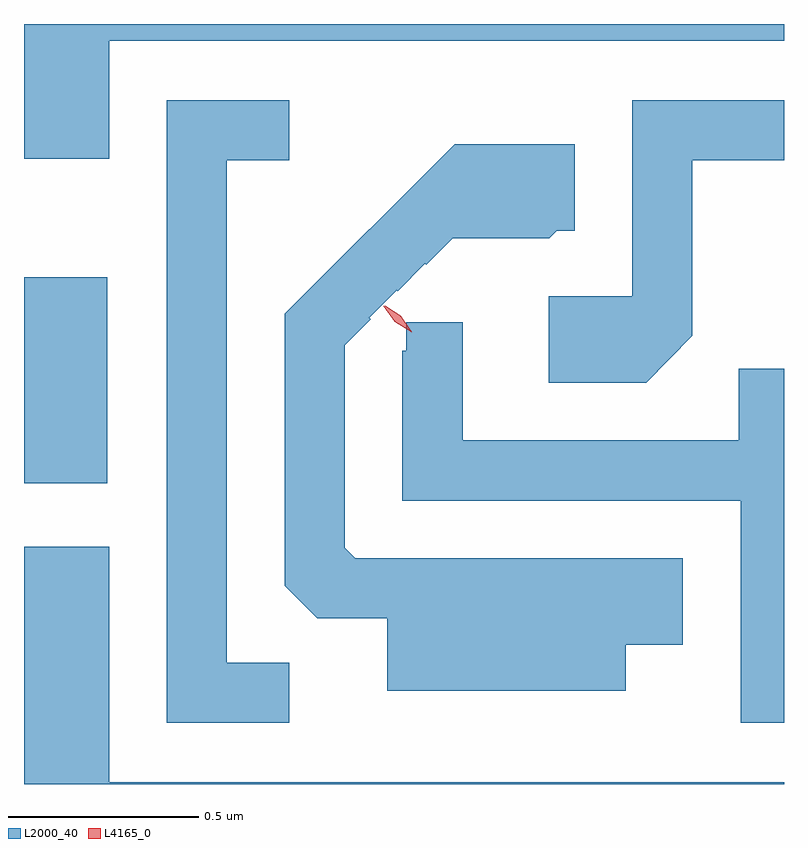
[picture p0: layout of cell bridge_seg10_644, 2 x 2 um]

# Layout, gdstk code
import gdstk
lib = gdstk.Library(unit=1e-6, precision=1e-09)
def R(c, l, rs):  # rectangles x0, y0, x1, y1
    for r in rs: c.add(gdstk.rectangle(r[:2], r[2:], *l))
def P(c, l, *ps):  # polygons
    for p in ps: c.add(gdstk.Polygon(p, *l))
L2000_40 = (2000, 40)
L4165_0 = (4165, 0)

bridge_seg10_644 = lib.new_cell('bridge_seg10_644')
R(bridge_seg10_644, L2000_40, [(637.89,2141.611,638.109,2142.154)])
P(bridge_seg10_644, L2000_40, [(638.114,2142.776),(639.89,2142.776),(639.89,2142.82),(637.89,2142.82),(637.89,2142.466),(638.114,2142.466)],
  [(638.588,2141.139),(638.424,2141.139),(638.424,2142.461),(638.588,2142.461),(638.588,2142.619),(638.266,2142.619),(638.266,2140.981),(638.588,2140.981)],
  [(639.649,2141.999),(639.649,2142.461),(639.89,2142.461),(639.89,2142.619),(639.491,2142.619),(639.491,2142.104),(639.271,2142.104),(639.271,2141.876),(639.527,2141.876)],
  [(639.474,2141.186),(639.624,2141.186),(639.624,2141.414),(638.762,2141.414),(638.734,2141.442),(638.734,2141.974),(638.803,2142.043),(638.799,2142.047),(638.871,2142.119),(638.873,2142.117),(638.945,2142.189),(638.948,2142.187),(639.018,2142.256),(639.272,2142.256),(639.292,2142.276),(639.339,2142.276),(639.339,2142.504),(639.024,2142.504),(638.576,2142.057),(638.576,2141.342),(638.662,2141.256),(638.846,2141.256),(638.846,2141.066),(639.474,2141.066)],
  [(639.89,2141.913),(639.771,2141.913),(639.771,2141.724),(639.044,2141.724),(639.044,2142.035),(638.896,2142.035),(638.896,2141.96),(638.886,2141.96),(638.886,2141.566),(639.776,2141.566),(639.776,2140.981),(639.89,2140.981)],
  [(639.89,2140.824),(638.114,2140.824),(638.114,2141.444),(637.89,2141.444),(637.89,2140.82),(639.89,2140.82)])
P(bridge_seg10_644, L4165_0, [(638.908,2142.011),(638.867,2142.038),(638.839,2142.079),(638.839,2142.079),(638.84,2142.079),(638.881,2142.052),(638.909,2142.012),(638.909,2142.011)],
  [(638.91,2142.009),(638.866,2142.036),(638.835,2142.078),(638.835,2142.078),(638.836,2142.078),(638.88,2142.051),(638.911,2142.01),(638.911,2142.009)])

lib.write_gds('bridge_seg10_644.gds')
